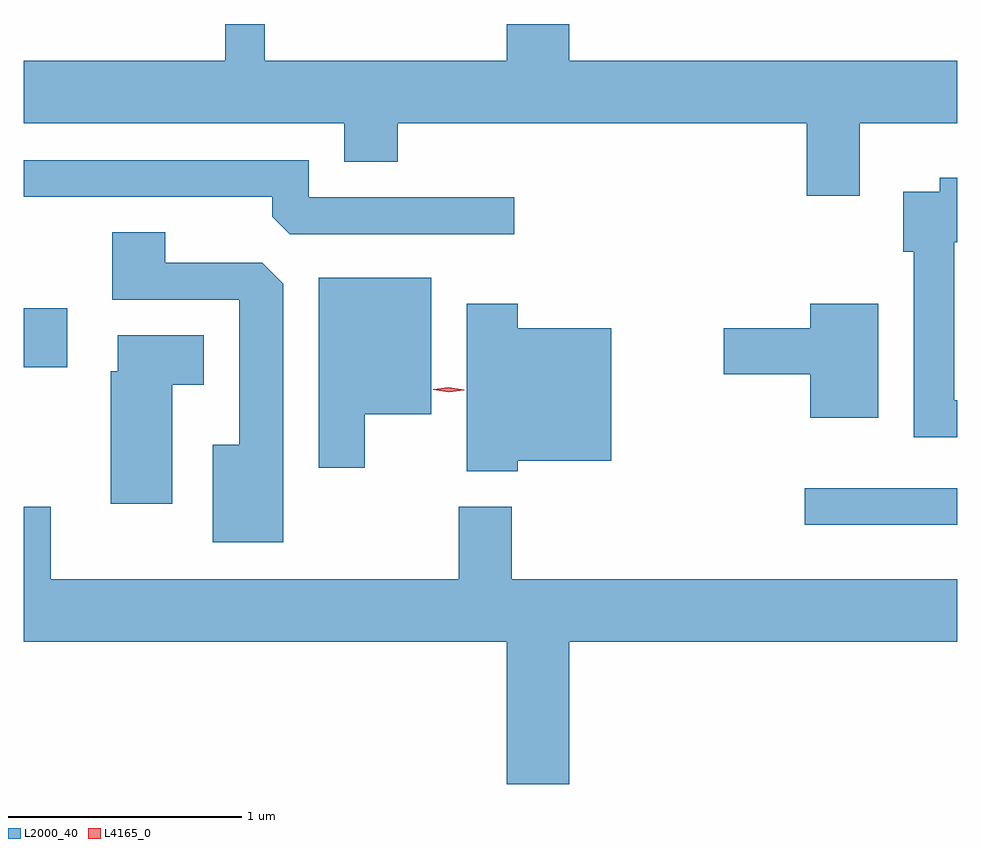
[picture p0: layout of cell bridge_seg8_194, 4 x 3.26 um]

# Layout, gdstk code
import gdstk
lib = gdstk.Library(unit=1e-6, precision=1e-09)
def R(c, l, rs):  # rectangles x0, y0, x1, y1
    for r in rs: c.add(gdstk.rectangle(r[:2], r[2:], *l))
def P(c, l, *ps):  # polygons
    for p in ps: c.add(gdstk.Polygon(p, *l))
L2000_40 = (2000, 40)
L4165_0 = (4165, 0)

bridge_seg8_194 = lib.new_cell('bridge_seg8_194')
R(bridge_seg8_194, L2000_40, [(1135.433,1896.856,1136.087,1897.014), (1132.087,1897.531,1132.274,1897.784)])
P(bridge_seg8_194, L2000_40, [(1135.669,1898.576),(1136.087,1898.576),(1136.087,1898.844),(1134.424,1898.844),(1134.424,1899.002),(1134.156,1899.002),(1134.156,1898.844),(1133.119,1898.844),(1133.119,1899.002),(1132.951,1899.002),(1132.951,1898.844),(1132.087,1898.844),(1132.087,1898.576),(1133.461,1898.576),(1133.461,1898.411),(1133.689,1898.411),(1133.689,1898.576),(1135.441,1898.576),(1135.441,1898.266),(1135.669,1898.266)],
  [(1134.188,1898.259),(1133.309,1898.259),(1133.309,1898.419),(1132.087,1898.419),(1132.087,1898.261),(1133.151,1898.261),(1133.151,1898.177),(1133.227,1898.101),(1134.188,1898.101)],
  [(1136.087,1897.389),(1136.074,1897.389),(1136.074,1898.066),(1136.087,1898.066),(1136.087,1898.344),(1136.011,1898.344),(1136.011,1898.284),(1135.856,1898.284),(1135.856,1898.026),(1135.901,1898.026),(1135.901,1897.231),(1136.087,1897.231)],
  [(1133.199,1897.889),(1133.109,1897.979),(1132.694,1897.979),(1132.694,1898.109),(1132.466,1898.109),(1132.466,1897.821),(1133.011,1897.821),(1133.011,1897.199),(1132.896,1897.199),(1132.896,1896.781),(1133.199,1896.781)],
  [(1133.549,1897.331),(1133.834,1897.331),(1133.834,1897.914),(1133.351,1897.914),(1133.351,1897.101),(1133.549,1897.101)],
  [(1134.204,1897.131),(1134.604,1897.131),(1134.604,1897.699),(1134.204,1897.699),(1134.204,1897.804),(1133.986,1897.804),(1133.986,1897.086),(1134.204,1897.086)],
  [(1135.749,1897.804),(1135.456,1897.804),(1135.456,1897.699),(1135.086,1897.699),(1135.086,1897.501),(1135.456,1897.501),(1135.456,1897.316),(1135.749,1897.316)],
  [(1132.724,1897.456),(1132.859,1897.456),(1132.859,1897.669),(1132.491,1897.669),(1132.491,1897.514),(1132.461,1897.514),(1132.461,1896.946),(1132.724,1896.946)],
  [(1134.424,1896.356),(1136.087,1896.356),(1136.087,1896.624),(1134.179,1896.624),(1134.179,1896.934),(1133.951,1896.934),(1133.951,1896.624),(1132.204,1896.624),(1132.204,1896.934),(1132.087,1896.934),(1132.087,1896.356),(1134.156,1896.356),(1134.156,1895.746),(1134.424,1895.746)])
P(bridge_seg8_194, L4165_0, [(1133.908,1897.425),(1133.842,1897.436),(1133.842,1897.437),(1133.842,1897.437),(1133.908,1897.445),(1133.974,1897.434),(1133.974,1897.433),(1133.974,1897.433)])

lib.write_gds('bridge_seg8_194.gds')
